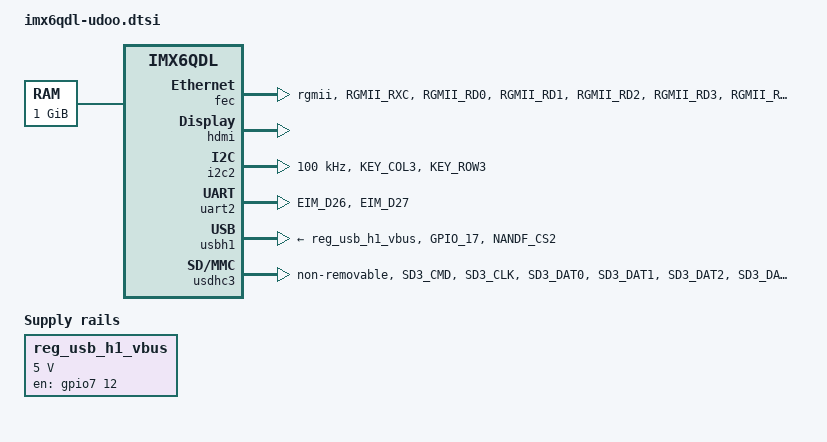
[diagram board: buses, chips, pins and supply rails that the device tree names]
/*
 * Copyright 2013 Freescale Semiconductor, Inc.
 *
 * Author: Fabio Estevam <fabio.estevam@freescale.com>
 *
 * This program is free software; you can redistribute it and/or modify
 * it under the terms of the GNU General Public License version 2 as
 * published by the Free Software Foundation.
 *
 */

/ {
	chosen {
		stdout-path = &uart2;
	};

	memory {
		reg = <0x10000000 0x40000000>;
	};

	regulators {
		compatible = "simple-bus";
		#address-cells = <1>;
		#size-cells = <0>;

		reg_usb_h1_vbus: regulator@0 {
			compatible = "regulator-fixed";
			reg = <0>;
			regulator-name = "usb_h1_vbus";
			regulator-min-microvolt = <5000000>;
			regulator-max-microvolt = <5000000>;
			enable-active-high;
			startup-delay-us = <2>; /* USB2415 requires a POR of 1 us minimum */
			gpio = <&gpio7 12 0>;
		};
	};
};

&fec {
	pinctrl-names = "default";
	pinctrl-0 = <&pinctrl_enet>;
	phy-mode = "rgmii";
	status = "okay";
};

&hdmi {
	ddc-i2c-bus = <&i2c2>;
	status = "okay";
};

&i2c2 {
	clock-frequency = <100000>;
	pinctrl-names = "default";
	pinctrl-0 = <&pinctrl_i2c2>;
	status = "okay";
};

&iomuxc {
	imx6q-udoo {
		pinctrl_enet: enetgrp {
			fsl,pins = <
				MX6QDL_PAD_RGMII_RXC__RGMII_RXC		0x1b0b0
				MX6QDL_PAD_RGMII_RD0__RGMII_RD0		0x1b0b0
				MX6QDL_PAD_RGMII_RD1__RGMII_RD1		0x1b0b0
				MX6QDL_PAD_RGMII_RD2__RGMII_RD2		0x1b0b0
				MX6QDL_PAD_RGMII_RD3__RGMII_RD3		0x1b0b0
				MX6QDL_PAD_RGMII_RX_CTL__RGMII_RX_CTL	0x1b0b0
				MX6QDL_PAD_RGMII_TXC__RGMII_TXC		0x1b0b0
				MX6QDL_PAD_RGMII_TD0__RGMII_TD0		0x1b0b0
				MX6QDL_PAD_RGMII_TD1__RGMII_TD1		0x1b0b0
				MX6QDL_PAD_RGMII_TD2__RGMII_TD2		0x1b0b0
				MX6QDL_PAD_RGMII_TD3__RGMII_TD3		0x1b0b0
				MX6QDL_PAD_RGMII_TX_CTL__RGMII_TX_CTL	0x1b0b0
				MX6QDL_PAD_ENET_REF_CLK__ENET_TX_CLK	0x1b0b0
				MX6QDL_PAD_ENET_MDIO__ENET_MDIO		0x1b0b0
				MX6QDL_PAD_ENET_MDC__ENET_MDC		0x1b0b0
				MX6QDL_PAD_GPIO_16__ENET_REF_CLK	0x4001b0a8
			>;
		};

		pinctrl_i2c2: i2c2grp {
			fsl,pins = <
				MX6QDL_PAD_KEY_COL3__I2C2_SCL		0x4001b8b1
				MX6QDL_PAD_KEY_ROW3__I2C2_SDA		0x4001b8b1
			>;
		};

		pinctrl_uart2: uart2grp {
			fsl,pins = <
				MX6QDL_PAD_EIM_D26__UART2_TX_DATA	0x1b0b1
				MX6QDL_PAD_EIM_D27__UART2_RX_DATA	0x1b0b1
			>;
		};

		pinctrl_usbh: usbhgrp {
			fsl,pins = <
				MX6QDL_PAD_GPIO_17__GPIO7_IO12 0x80000000
				MX6QDL_PAD_NANDF_CS2__CCM_CLKO2 0x130b0
			>;
		};

		pinctrl_usdhc3: usdhc3grp {
			fsl,pins = <
				MX6QDL_PAD_SD3_CMD__SD3_CMD		0x17059
				MX6QDL_PAD_SD3_CLK__SD3_CLK		0x10059
				MX6QDL_PAD_SD3_DAT0__SD3_DATA0		0x17059
				MX6QDL_PAD_SD3_DAT1__SD3_DATA1		0x17059
				MX6QDL_PAD_SD3_DAT2__SD3_DATA2		0x17059
				MX6QDL_PAD_SD3_DAT3__SD3_DATA3		0x17059
			>;
		};
	};
};

&uart2 {
	pinctrl-names = "default";
	pinctrl-0 = <&pinctrl_uart2>;
	status = "okay";
};

&usbh1 {
	pinctrl-names = "default";
	pinctrl-0 = <&pinctrl_usbh>;
	vbus-supply = <&reg_usb_h1_vbus>;
	clocks = <&clks 201>;
	status = "okay";
};

&usdhc3 {
	pinctrl-names = "default";
	pinctrl-0 = <&pinctrl_usdhc3>;
	non-removable;
	status = "okay";
};
